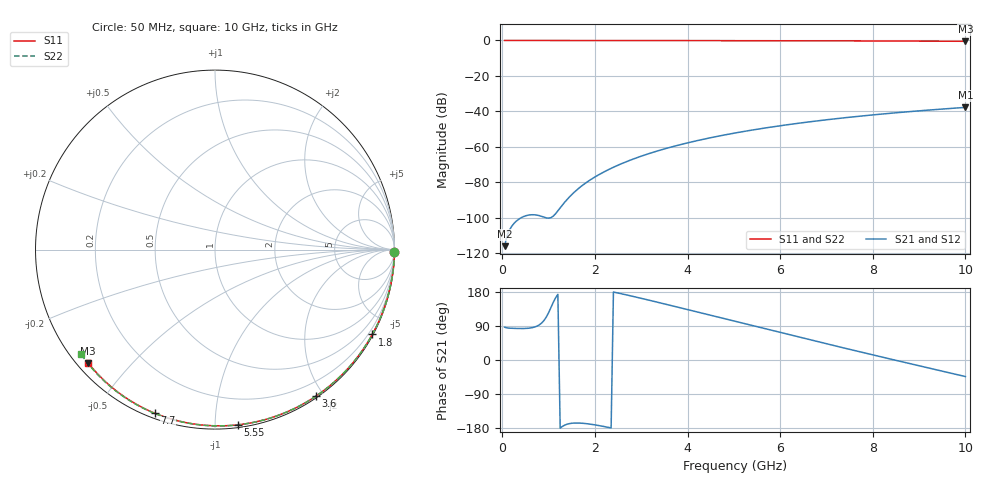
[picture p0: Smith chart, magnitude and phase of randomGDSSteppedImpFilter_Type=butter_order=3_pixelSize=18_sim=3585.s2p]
! freq	dB(S11)	phase(S11)	dB(S12)	phase(S12)
!  dB(S21)	phase(S21)	dB(S22)	phase(S22)
!S-par simulation data
#  GHz  S  DB  R 50
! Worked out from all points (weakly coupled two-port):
!   200 points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, 50 MHz to 10 GHz, reference 50 ohm
!   highest |S21| = -37.73 dB at 10 GHz (marker M1); lowest = -115.9 dB at 50 MHz (marker M2)
!   lowest |S11| = -0.5 dB at 10 GHz (marker M3), VSWR 37.05, Z = 1.55 - j19.1 ohm
!   |S11| at or under -10 dB: nowhere
!   |S22| runs from -0.5 to 0.0 dB; largest |S21 - S12| = 0
!   S11 on the Smith chart (normalised r, x): 50 MHz: open; 1.8 GHz: 0.03, -3.96; 3.6 GHz: 0.02, -1.91; 5.55 GHz: 0.02, -1.14; 7.7 GHz: 0.02, -0.70; 10 GHz: 0.03, -0.38
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0.05  -0.00 -0.8  -115.92 86.5  -115.92 86.5  -0.00 -0.8
0.45  -0.01 -7.2  -99.35 83.1  -99.35 83.1  -0.01 -7.4
0.9  -0.02 -14.3  -99.57 104.2  -99.57 104.2  -0.02 -14.7
1.3  -0.03 -20.6  -92.67 -175.1  -92.67 -175.1  -0.03 -21.2
1.75  -0.04 -27.6  -81.28 -167.1  -81.28 -167.1  -0.04 -28.3
1.8  -0.04 -28.3  -80.33 -167.8  -80.33 -167.8  -0.04 -29.1
1.85  -0.04 -29.1  -79.43 -168.5  -79.43 -168.5  -0.04 -29.9
2.05  -0.04 -32.2  -76.16 -172.2  -76.16 -172.2  -0.04 -33.1
2.2  -0.04 -34.5  -74.02 -175.6  -74.02 -175.6  -0.04 -35.4
2.55  -0.05 -39.8  -69.70 175.4  -69.70 175.4  -0.05 -40.9
2.95  -0.06 -45.8  -65.66 164.2  -65.66 164.2  -0.06 -47.1
3.4  -0.07 -52.4  -61.88 151.0  -61.88 151.0  -0.07 -53.9
3.6  -0.07 -55.4  -60.39 145.1  -60.39 145.1  -0.08 -56.9
4.3  -0.09 -65.4  -55.92 124.0  -55.92 124.0  -0.09 -67.2
5.05  -0.12 -75.8  -52.03 101.2  -52.03 101.2  -0.12 -77.9
5.55  -0.14 -82.6  -49.84 86.1  -49.84 86.1  -0.14 -84.8
6.1  -0.16 -89.9  -47.70 69.6  -47.70 69.6  -0.16 -92.3
6.7  -0.19 -97.7  -45.64 51.7  -45.64 51.7  -0.19 -100.3
7.7  -0.25 -110.3  -42.72 22.3  -42.72 22.3  -0.26 -113.2
8.35  -0.30 -118.3  -41.10 3.4  -41.10 3.4  -0.31 -121.4
9.2  -0.38 -128.6  -39.24 -20.9  -39.24 -20.9  -0.39 -132.1
10  -0.47 -138.2  -37.73 -43.7  -37.73 -43.7  -0.48 -142.1
